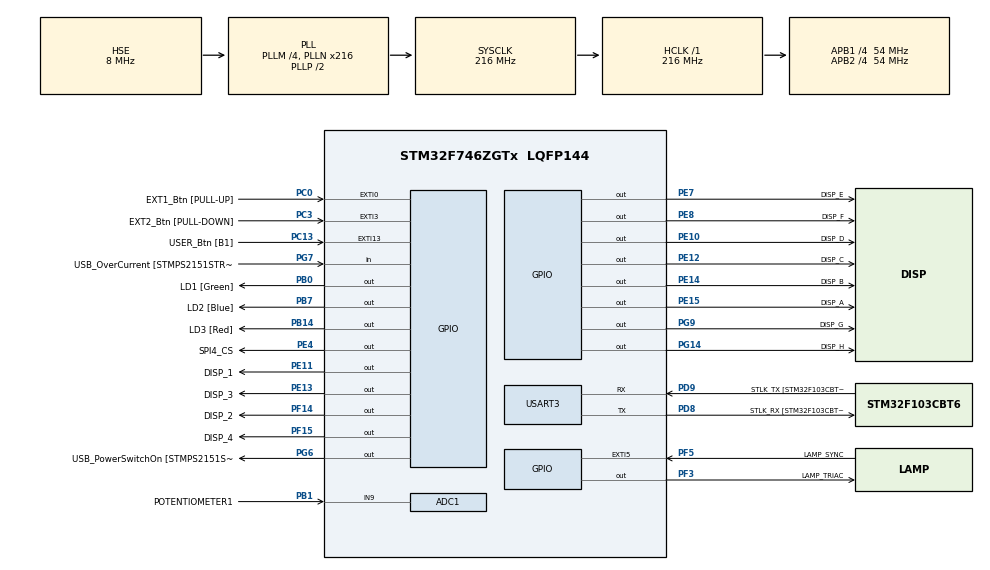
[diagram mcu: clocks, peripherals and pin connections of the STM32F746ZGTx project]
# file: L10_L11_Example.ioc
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ADC1.Channel-0\#ChannelRegularConversion=ADC_CHANNEL_9
ADC1.NbrOfConversionFlag=1
ADC1.Rank-0\#ChannelRegularConversion=1
ADC1.SamplingTime-0\#ChannelRegularConversion=ADC_SAMPLETIME_3CYCLES
ADC1.master=1
ARM.CMSIS.5.7.0.CMSISJjCORE=true
ARM.CMSIS.5.7.0.CMSISJjDSP=Library
Mcu.Family=STM32F7
Mcu.Name=STM32F746ZGTx
Mcu.Package=LQFP144
NVIC.PriorityGroup=NVIC_PRIORITYGROUP_4
NVIC.TIM7_IRQn=true\:0\:0\:false\:false\:true\:true\:true\:true
NVIC.USART3_IRQn=true\:0\:0\:false\:false\:true\:true\:true\:true
PA1.GPIO_Label=RMII_REF_CLK [LAN8742A-CZ-TR_REFCLK0]
PA1.Signal=ETH_REF_CLK
PA10.GPIO_Label=USB_ID
PA10.Signal=USB_OTG_FS_ID
PA11.GPIO_Label=USB_DM
PA11.Signal=USB_OTG_FS_DM
PA12.GPIO_Label=USB_DP
PA12.Signal=USB_OTG_FS_DP
PA13.GPIO_Label=TMS
PA13.Mode=Serial_Wire
PA13.Signal=SYS_JTMS-SWDIO
PA14.GPIO_Label=TCK
PA14.Mode=Serial_Wire
PA14.Signal=SYS_JTCK-SWCLK
PA2.GPIO_Label=RMII_MDIO [LAN8742A-CZ-TR_MDIO]
PA2.Signal=ETH_MDIO
PA3.GPIO_Label=LD4 [PWM]
PA3.Signal=S_TIM5_CH4
PA4.Signal=COMP_DAC1_group
PA5.GPIO_Label=LED_RGB_R [Red channel]
PA5.Signal=S_TIM2_CH1_ETR
PA6.GPIO_Label=ENC_CLK
PA6.Signal=S_TIM3_CH1
PA7.GPIO_Label=RMII_CRS_DV [LAN8742A-CZ-TR_CRS_DV]
PA7.Signal=ETH_CRS_DV
PA8.GPIO_Label=USB_SOF [TP1]
PA8.Signal=USB_OTG_FS_SOF
PA9.GPIO_Label=USB_VBUS
PA9.Signal=USB_OTG_FS_VBUS
PB0.GPIO_Label=LD1 [Green]
PB0.Signal=GPIO_Output
PB1.GPIO_Label=POTENTIOMETER1
PB1.Signal=ADCx_IN9
PB10.GPIO_Label=LED_RGB_G [Green channel]
PB10.Signal=S_TIM2_CH3
PB11.GPIO_Label=LED_RGB_B [Blue channel]
PB11.Signal=S_TIM2_CH4
PB13.GPIO_Label=RMII_TXD1 [LAN8742A-CZ-TR_TXD1]
PB13.Signal=ETH_TXD1
PB14.GPIO_Label=LD3 [Red]
PB14.Signal=GPIO_Output
PB3.GPIO_Label=SW0
PB3.Signal=SYS_JTDO-SWO
PB7.GPIO_Label=LD2 [Blue]
PB7.Signal=GPIO_Output
PB8.GPIO_Label=BH1750_SCL
PB8.Signal=I2C1_SCL
PB9.GPIO_Label=BH1750_SDA
PB9.Signal=I2C1_SDA
PC0.GPIO_Label=EXT1_Btn [PULL-UP]
PC0.GPIO_ModeDefaultEXTI=GPIO_MODE_IT_FALLING
PC0.GPIO_PuPd=GPIO_PULLUP
PC0.Signal=GPXTI0
PC1.GPIO_Label=RMII_MDC [LAN8742A-CZ-TR_MDC]
PC1.Signal=ETH_MDC
PC13.GPIO_Label=USER_Btn [B1]
PC13.Signal=GPXTI13
PC14/OSC32_IN.Mode=LSE-External-Oscillator
PC14/OSC32_IN.Signal=RCC_OSC32_IN
PC15/OSC32_OUT.Mode=LSE-External-Oscillator
PC15/OSC32_OUT.Signal=RCC_OSC32_OUT
PC2.GPIO_Label=POTENTIOMETER2
PC2.Signal=ADCx_IN12
PC3.GPIO_Label=EXT2_Btn [PULL-DOWN]
PC3.GPIO_PuPd=GPIO_PULLDOWN
PC3.Signal=GPXTI3
PC4.GPIO_Label=RMII_RXD0 [LAN8742A-CZ-TR_RXD0]
PC4.Signal=ETH_RXD0
PC5.GPIO_Label=RMII_RXD1 [LAN8742A-CZ-TR_RXD1]
PC5.Signal=ETH_RXD1
PC7.GPIO_Label=ENC_DT
PC7.Signal=S_TIM3_CH2
PD13.GPIO_Label=HEATER
PD13.Signal=S_TIM4_CH2
PD8.GPIO_Label=STLK_RX [STM32F103CBT6_PA3]
PD8.Mode=Asynchronous
PD8.Signal=USART3_TX
PD9.GPIO_Label=STLK_TX [STM32F103CBT6_PA2]
PD9.Mode=Asynchronous
PD9.Signal=USART3_RX
PE10.GPIO_Label=DISP_D
PE10.GPIO_ModeDefaultOutputPP=GPIO_MODE_OUTPUT_OD
PE10.GPIO_PuPd=GPIO_PULLUP
PE10.Signal=GPIO_Output
PE11.GPIO_Label=DISP_1
PE11.Signal=GPIO_Output
PE12.GPIO_Label=DISP_C
PE12.GPIO_ModeDefaultOutputPP=GPIO_MODE_OUTPUT_OD
PE12.GPIO_PuPd=GPIO_PULLUP
PE12.Signal=GPIO_Output
PE13.GPIO_Label=DISP_3
PE13.Signal=GPIO_Output
PE14.GPIO_Label=DISP_B
PE14.GPIO_ModeDefaultOutputPP=GPIO_MODE_OUTPUT_OD
PE14.GPIO_PuPd=GPIO_PULLUP
PE14.Signal=GPIO_Output
PE15.GPIO_Label=DISP_A
PE15.GPIO_ModeDefaultOutputPP=GPIO_MODE_OUTPUT_OD
PE15.GPIO_PuPd=GPIO_PULLUP
PE15.Signal=GPIO_Output
PE2.Signal=SPI4_SCK
PE4.GPIO_Label=SPI4_CS
PE4.Signal=GPIO_Output
PE5.Signal=SPI4_MISO
PE6.Signal=SPI4_MOSI
PE7.GPIO_Label=DISP_E
PE7.GPIO_ModeDefaultOutputPP=GPIO_MODE_OUTPUT_OD
PE7.GPIO_PuPd=GPIO_PULLUP
PE7.Signal=GPIO_Output
PE8.GPIO_Label=DISP_F
PE8.GPIO_ModeDefaultOutputPP=GPIO_MODE_OUTPUT_OD
PE8.GPIO_PuPd=GPIO_PULLUP
PE8.Signal=GPIO_Output
PF14.GPIO_Label=DISP_2
PF14.Signal=GPIO_Output
PF15.GPIO_Label=DISP_4
PF15.Signal=GPIO_Output
PF3.GPIO_Label=LAMP_TRIAC
PF3.GPIO_Speed=GPIO_SPEED_FREQ_HIGH
PF3.Signal=GPIO_Output
PF5.GPIO_Label=LAMP_SYNC
PF5.Signal=GPXTI5
PG11.GPIO_Label=RMII_TX_EN [LAN8742A-CZ-TR_TXEN]
PG11.Signal=ETH_TX_EN
PG13.GPIO_Label=RMII_TXD0 [LAN8742A-CZ-TR_TXD0]
PG13.Signal=ETH_TXD0
PG14.GPIO_Label=DISP_H
PG14.GPIO_ModeDefaultOutputPP=GPIO_MODE_OUTPUT_OD
PG14.GPIO_PuPd=GPIO_PULLUP
PG14.Signal=GPIO_Output
PG6.GPIO_Label=USB_PowerSwitchOn [STMPS2151STR_EN]
PG6.Signal=GPIO_Output
PG7.GPIO_Label=USB_OverCurrent [STMPS2151STR_FAULT]
PG7.Signal=GPIO_Input
PG9.GPIO_Label=DISP_G
PG9.GPIO_ModeDefaultOutputPP=GPIO_MODE_OUTPUT_OD
PG9.GPIO_PuPd=GPIO_PULLUP
PG9.Signal=GPIO_Output
PH0/OSC_IN.GPIO_Label=MCO [STM32F103CBT6_PA8]
PH0/OSC_IN.Mode=HSE-External-Clock-Source
PH0/OSC_IN.Signal=RCC_OSC_IN
PH1/OSC_OUT.Mode=HSE-External-Clock-Source
PH1/OSC_OUT.Signal=RCC_OSC_OUT
ProjectManager.HeapSize=0x200
ProjectManager.StackSize=0x400
ProjectManager.TargetToolchain=STM32CubeIDE
RCC.48MHZClocksFreq_Value=24000000
RCC.AHBFreq_Value=216000000
RCC.APB1CLKDivider=RCC_HCLK_DIV4
RCC.APB1Freq_Value=54000000
RCC.APB1TimFreq_Value=108000000
RCC.APB2CLKDivider=RCC_HCLK_DIV4
RCC.APB2Freq_Value=54000000
RCC.APB2TimFreq_Value=108000000
RCC.CortexFreq_Value=216000000
RCC.HCLKFreq_Value=216000000
RCC.HSE_VALUE=8000000
RCC.HSI_VALUE=16000000
RCC.PLLM=4
RCC.PLLMUL=RCC_PLL_MUL9
RCC.PLLN=216
RCC.PLLQ=3
RCC.PLLSourceVirtual=RCC_PLLSOURCE_HSE
RCC.PRESCALERUSB=RCC_USBCLKSOURCE_PLL_DIV1_5
RCC.SYSCLKFreq_VALUE=216000000
RCC.SYSCLKSource=RCC_SYSCLKSOURCE_PLLCLK
RCC.SYSCLKSourceVirtual=RCC_SYSCLKSOURCE_PLLCLK
RCC.USART3CLockSelection=RCC_USART3CLKSOURCE_SYSCLK
RCC.USBFreq_Value=144000000
RCC.VCOOutputFreq_Value=432000000
SH.ADCx_IN12.0=ADC1_IN12
SH.ADCx_IN9.0=ADC1_IN9,IN9
SH.COMP_DAC1_group.0=DAC_OUT1
SH.S_TIM2_CH1_ETR.0=TIM2_CH1
SH.S_TIM2_CH3.0=TIM2_CH3
SH.S_TIM2_CH4.0=TIM2_CH4
SH.S_TIM3_CH1.0=TIM3_CH1
SH.S_TIM3_CH2.0=TIM3_CH2
SH.S_TIM4_CH2.0=TIM4_CH2
SH.S_TIM5_CH4.0=TIM5_CH4
TIM7.Period=999
TIM7.Prescaler=107
USART3.VirtualMode-Asynchronous=VM_ASYNC
VP_ARM.CMSIS_VS_CMSISJjCORE_5.4.0_5.7.0.Mode=CMSISJjCORE
VP_ARM.CMSIS_VS_CMSISJjDSP_1.8.0_5.7.0.Mode=CMSISJjDSP
VP_TIM7_VS_ClockSourceINT.Mode=Enable_Timer
board=NUCLEO-F746ZG

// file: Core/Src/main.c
/* USER CODE BEGIN Header */
/**
  ******************************************************************************
  * @file           : main.c
  * @brief          : Main program body
  ******************************************************************************
  * @attention
  *
  * Copyright (c) 2022 STMicroelectronics.
  * All rights reserved.
  *
  * This software is licensed under terms that can be found in the LICENSE file
  * in the root directory of this software component.
  * If no LICENSE file comes with this software, it is provided AS-IS.
  *
  ******************************************************************************
  */
/* USER CODE END Header */
#include "main.h"
#include "adc.h"
#include "tim.h"
#include "usart.h"
#include "gpio.h"

/* USER CODE BEGIN Includes */
#include "arm_math.h"
#include "IIR2_biquad_df1.h"
#include <stdio.h>
/* USER CODE END Includes */

/* USER CODE BEGIN PV */
float input, output;
uint16_t output_uint;
char RxMsg[16];
/* USER CODE END PV */

void SystemClock_Config(void);
/* USER CODE BEGIN PFP */
void RunAllTests(void);
/* USER CODE END PFP */

/* USER CODE BEGIN 0 */
/**
  * @brief  Period elapsed callback in non-blocking mode
  * @param  htim TIM handle
  * @retval None
  */
void HAL_TIM_PeriodElapsedCallback(TIM_HandleTypeDef *htim)
{
  if(htim == &htim7)
  {
	HAL_ADC_Start(&hadc1);
	if(HAL_ADC_PollForConversion(&hadc1, 1) == HAL_OK)
		input = (float)HAL_ADC_GetValue(&hadc1);
	arm_biquad_cascade_df1_f32(&IIR2, &input, &output, 1);
	output_uint = (uint16_t)output;
  }

}

/**
  * @brief  Rx Transfer completed callback.
  * @param  huart UART handle.
  * @retval None
  */
void HAL_UART_RxCpltCallback(UART_HandleTypeDef *huart)
{
  if(huart == &huart3)
  {
	float value;
    sscanf(RxMsg, "%f", &value);
	HAL_UART_Receive_IT(&huart3, (unsigned char*)RxMsg, 7);
  }
}
/* USER CODE END 0 */

int main(void)
{

  /* MCU Configuration--------------------------------------------------------*/

  /* Reset of all peripherals, Initializes the Flash interface and the Systick. */
  HAL_Init();

  /* Configure the system clock */
  SystemClock_Config();

  /* Initialize all configured peripherals */
  MX_GPIO_Init();
  MX_USART3_UART_Init();
  MX_ADC1_Init();
  MX_TIM7_Init();
  /* USER CODE BEGIN 2 */
  RunAllTests();
  arm_biquad_cascade_df1_init_f32(&IIR2, IIR2_NUM_STAGES, IIR2_COEFFS, IIR2_STATE);
  HAL_TIM_Base_Start_IT(&htim7);
  HAL_UART_Receive_IT(&huart3, (unsigned char*)RxMsg, 7);
  /* USER CODE END 2 */

  /* Infinite loop */
  while (1)
  {

  }
}

void SystemClock_Config(void)
{
  RCC_OscInitTypeDef RCC_OscInitStruct = {0};
  RCC_ClkInitTypeDef RCC_ClkInitStruct = {0};

  /** Configure LSE Drive Capability
  */
  HAL_PWR_EnableBkUpAccess();

  /** Configure the main internal regulator output voltage
  */
  __HAL_RCC_PWR_CLK_ENABLE();
  __HAL_PWR_VOLTAGESCALING_CONFIG(PWR_REGULATOR_VOLTAGE_SCALE1);

  /** Initializes the RCC Oscillators according to the specified parameters
  * in the RCC_OscInitTypeDef structure.
  */
  RCC_OscInitStruct.OscillatorType = RCC_OSCILLATORTYPE_HSE;
  RCC_OscInitStruct.HSEState = RCC_HSE_BYPASS;
  RCC_OscInitStruct.PLL.PLLState = RCC_PLL_ON;
  RCC_OscInitStruct.PLL.PLLSource = RCC_PLLSOURCE_HSE;
  RCC_OscInitStruct.PLL.PLLM = 4;
  RCC_OscInitStruct.PLL.PLLN = 216;
  RCC_OscInitStruct.PLL.PLLP = RCC_PLLP_DIV2;
  RCC_OscInitStruct.PLL.PLLQ = 3;
  if (HAL_RCC_OscConfig(&RCC_OscInitStruct) != HAL_OK)
  {
    Error_Handler();
  }

  /** Activate the Over-Drive mode
  */
  if (HAL_PWREx_EnableOverDrive() != HAL_OK)
  {
    Error_Handler();
  }

  /** Initializes the CPU, AHB and APB buses clocks
  */
  RCC_ClkInitStruct.ClockType = RCC_CLOCKTYPE_HCLK|RCC_CLOCKTYPE_SYSCLK
                              |RCC_CLOCKTYPE_PCLK1|RCC_CLOCKTYPE_PCLK2;
  RCC_ClkInitStruct.SYSCLKSource = RCC_SYSCLKSOURCE_PLLCLK;
  RCC_ClkInitStruct.AHBCLKDivider = RCC_SYSCLK_DIV1;
  RCC_ClkInitStruct.APB1CLKDivider = RCC_HCLK_DIV4;
  RCC_ClkInitStruct.APB2CLKDivider = RCC_HCLK_DIV4;

  if (HAL_RCC_ClockConfig(&RCC_ClkInitStruct, FLASH_LATENCY_7) != HAL_OK)
  {
    Error_Handler();
  }
}

void Error_Handler(void)
{
  __disable_irq();
  while (1)
  {
  }
}
